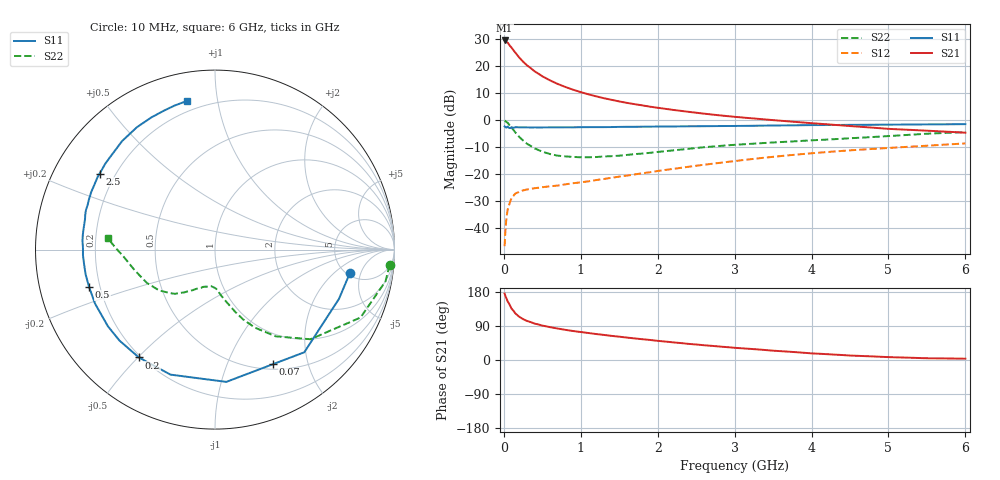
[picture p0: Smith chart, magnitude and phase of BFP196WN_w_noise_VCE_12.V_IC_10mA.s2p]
! Infineon Technologies  Discrete & RF Semiconductors
! BFP196WN
! VCE =  12. V,  IC =  10 mA
! Common Emitter S-Parameters:  Jan 2017
# GHz  S  MA  R  50
!  f  S11  S21  S12  S22
! GHz  MAG  ANG  MAG  ANG  MAG  ANG  MAG  ANG
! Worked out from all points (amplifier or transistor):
!   77 points, 10 MHz to 6 GHz, reference 50 ohm
!   highest |S21| = 29.5 dB at 10 MHz (marker M1)
!   |S21| within 3 dB of that: start of sweep to 109.3 MHz
!   unconditionally stable (mu >= 1): 1.174 GHz to 2.611 GHz
!   at 130 MHz: K = 0.19, MSG = 26.8 dB, |S12| = -27.9 dB
!   at 2.2 GHz: K = 1.05, MAG = 9.6 dB, |S12| = -18.1 dB
!   at 6 GHz: K = 0.85, MSG = 2.0 dB, |S12| = -8.6 dB
!   lowest NFmin = 0.92 dB at 450 MHz
!   S11 on the Smith chart (normalised r, x): 10 MHz: 5.36, -3.31; 70 MHz: 0.56, -1.48; 200 MHz: 0.19, -0.50; 500 MHz: 0.16, -0.14; 2.5 GHz: 0.14, +0.29; 6 GHz: 0.14, +0.82
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0.01  0.7634 -9.7  30.01 175.4  0.0046 75.6  0.9762 -5.1
0.02  0.7432 -21.7  29.05 169.2  0.0088 74.8  0.9664 -10.5
0.05  0.7582 -49.0  27.28 154.5  0.022 66.5  0.895 -25.0
0.07  0.7155 -63.1  24.9 147.9  0.0272 58.8  0.8193 -31.4
0.1  0.7397 -85.1  22.11 135.5  0.0357 51.6  0.7295 -43.2
0.15  0.7395 -109.6  17.8 122.9  0.0435 42.7  0.59 -55.0
0.2  0.7355 -125.2  14.49 114.1  0.0468 37.3  0.4886 -62.9
0.25  0.735 -136.4  12.14 107.8  0.0498 34.9  0.4188 -68.1
0.3  0.7338 -144.5  10.4 103.1  0.0517 33.4  0.3648 -72.0
0.4  0.733 -155.8  8.033 96.0  0.0546 33.3  0.2991 -77.6
0.5  0.7318 -163.5  6.503 90.9  0.057 33.8  0.2599 -82.2
0.6  0.734 -169.2  5.463 86.7  0.0593 35.6  0.235 -85.4
0.7  0.7339 -173.6  4.688 83.0  0.0611 38.1  0.2194 -88.0
0.9  0.7358 179.2  3.661 76.5  0.0676 41.9  0.2079 -93.6
1.1  0.741 173.7  3.007 71.2  0.0733 46.3  0.2049 -98.4
1.5  0.7488 164.9  2.221 61.5  0.0896 52.8  0.219 -108.0
2.1  0.7614 153.5  1.62 48.7  0.1192 58.3  0.2656 -120.7
2.5  0.7699 146.6  1.372 40.9  0.1425 59.9  0.3037 -127.7
3.1  0.7816 136.8  1.119 30.8  0.1809 59.2  0.3554 -137.6
4.1  0.8097 121.1  0.857 16.5  0.2493 53.7  0.4287 -156.4
5.1  0.826 109.3  0.678 7.0  0.3107 46.0  0.5163 -176.4
6  0.8426 100.7  0.585 3.5  0.3701 39.2  0.6011 173.9
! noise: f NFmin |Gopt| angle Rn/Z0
0.45  0.92  0.37  146  0.05
0.9  1.09  0.52  167  0.05
1.9  2.29  0.71  206  0.13
2.4  3.04  0.72  213  0.24
